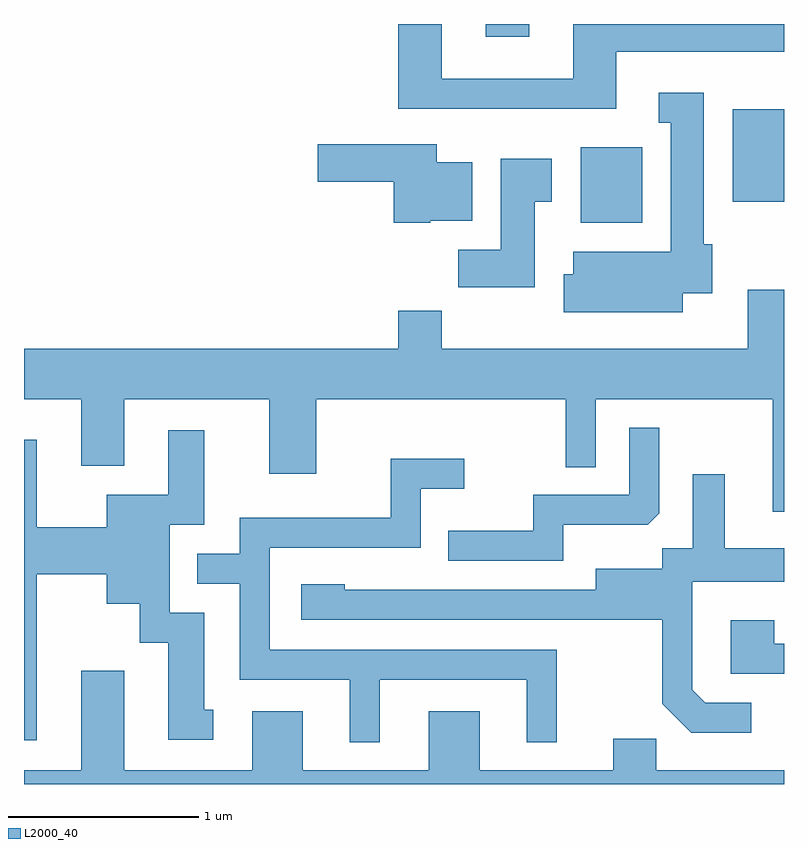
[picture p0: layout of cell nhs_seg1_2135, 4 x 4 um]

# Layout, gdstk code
import gdstk
lib = gdstk.Library(unit=1e-6, precision=1e-09)
def R(c, l, rs):  # rectangles x0, y0, x1, y1
    for r in rs: c.add(gdstk.rectangle(r[:2], r[2:], *l))
def P(c, l, *ps):  # polygons
    for p in ps: c.add(gdstk.Polygon(p, *l))
L2000_40 = (2000, 40)

nhs_seg1_2135 = lib.new_cell('nhs_seg1_2135')
R(nhs_seg1_2135, L2000_40, [(252.541,962.666,252.864,963.064), (253.341,962.776,253.611,963.264), (252.041,963.646,252.269,963.712)])
P(nhs_seg1_2135, L2000_40, [(252.729,963.566),(253.611,963.566),(253.611,963.712),(252.501,963.712),(252.501,963.424),(251.809,963.424),(251.809,963.712),(251.581,963.712),(251.581,963.266),(252.729,963.266)],
  [(253.079,962.296),(253.234,962.296),(253.234,962.554),(253.189,962.554),(253.189,963.349),(252.953,963.349),(252.953,963.191),(253.016,963.191),(253.016,962.514),(252.501,962.514),(252.501,962.394),(252.451,962.394),(252.451,962.196),(253.079,962.196)],
  [(251.75,962.676),(251.969,962.676),(251.969,962.984),(251.784,962.984),(251.784,963.079),(251.156,963.079),(251.156,962.881),(251.556,962.881),(251.556,962.666),(251.75,962.666)],
  [(252.299,962.776),(252.389,962.776),(252.389,963.004),(252.121,963.004),(252.121,962.524),(251.896,962.524),(251.896,962.326),(252.299,962.326)],
  [(253.611,962.314),(253.421,962.314),(253.421,962.004),(251.809,962.004),(251.809,962.204),(251.581,962.204),(251.581,962.004),(249.611,962.004),(249.611,961.736),(249.911,961.736),(249.911,961.386),(250.139,961.386),(250.139,961.736),(250.901,961.736),(250.901,961.346),(251.149,961.346),(251.149,961.736),(252.461,961.736),(252.461,961.378),(252.619,961.378),(252.619,961.736),(253.551,961.736),(253.551,961.146),(253.611,961.146)],
  [(252.449,961.076),(252.894,961.076),(252.954,961.137),(252.954,961.588),(252.796,961.588),(252.796,961.234),(252.291,961.234),(252.291,961.044),(251.843,961.044),(251.843,960.886),(252.449,960.886)],
  [(249.679,960.816),(250.046,960.816),(250.046,960.661),(250.221,960.661),(250.221,960.456),(250.371,960.456),(250.371,959.946),(250.608,959.946),(250.608,960.104),(250.559,960.104),(250.559,960.614),(250.379,960.614),(250.379,961.076),(250.559,961.076),(250.559,961.574),(250.371,961.574),(250.371,961.234),(250.046,961.234),(250.046,961.064),(249.679,961.064),(249.679,961.524),(249.611,961.524),(249.611,959.941),(249.679,959.941)],
  [(251.484,960.261),(252.256,960.261),(252.256,959.933),(252.414,959.933),(252.414,960.419),(250.904,960.419),(250.904,960.956),(251.699,960.956),(251.699,961.266),(251.928,961.266),(251.928,961.424),(251.541,961.424),(251.541,961.114),(250.746,961.114),(250.746,960.924),(250.523,960.924),(250.523,960.766),(250.746,960.766),(250.746,960.261),(251.326,960.261),(251.326,959.933),(251.484,959.933)],
  [(253.438,960.139),(253.197,960.139),(253.129,960.207),(253.129,960.776),(253.611,960.776),(253.611,960.954),(253.299,960.954),(253.299,961.343),(253.131,961.343),(253.131,960.954),(252.971,960.954),(252.971,960.844),(252.621,960.844),(252.621,960.734),(251.299,960.734),(251.299,960.764),(251.071,960.764),(251.071,960.576),(252.971,960.576),(252.971,960.134),(253.124,959.981),(253.438,959.981)],
  [(253.611,960.449),(253.559,960.449),(253.559,960.574),(253.331,960.574),(253.331,960.291),(253.611,960.291)],
  [(253.611,959.784),(252.939,959.784),(252.939,959.949),(252.711,959.949),(252.711,959.784),(252.009,959.784),(252.009,960.094),(251.741,960.094),(251.741,959.784),(251.079,959.784),(251.079,960.094),(250.811,960.094),(250.811,959.784),(250.139,959.784),(250.139,960.309),(249.911,960.309),(249.911,959.784),(249.611,959.784),(249.611,959.712),(253.611,959.712)])

lib.write_gds('nhs_seg1_2135.gds')
